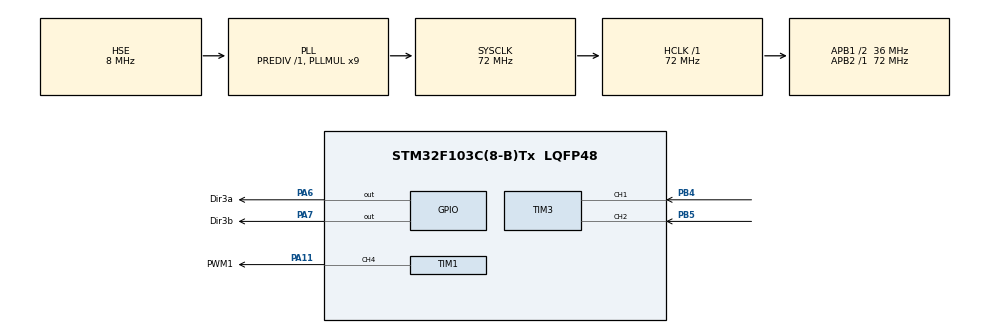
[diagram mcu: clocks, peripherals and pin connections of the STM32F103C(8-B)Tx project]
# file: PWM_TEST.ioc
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Mcu.Family=STM32F1
Mcu.Name=STM32F103C(8-B)Tx
Mcu.Package=LQFP48
NVIC.PriorityGroup=NVIC_PRIORITYGROUP_4
NVIC.TIM3_IRQn=true\:0\:0\:false\:false\:true\:true\:true\:true
PA11.GPIO_Label=PWM1
PA11.GPIO_Speed=GPIO_SPEED_FREQ_HIGH
PA11.Signal=S_TIM1_CH4
PA6.GPIO_Label=Dir3a
PA6.GPIO_Speed=GPIO_SPEED_FREQ_HIGH
PA6.Signal=GPIO_Output
PA7.GPIO_Label=Dir3b
PA7.Signal=GPIO_Output
PB4.Signal=S_TIM3_CH1
PB5.Signal=S_TIM3_CH2
PD0-OSC_IN.Mode=HSE-External-Oscillator
PD0-OSC_IN.Signal=RCC_OSC_IN
PD1-OSC_OUT.Mode=HSE-External-Oscillator
PD1-OSC_OUT.Signal=RCC_OSC_OUT
ProjectManager.HeapSize=0x200
ProjectManager.StackSize=0x400
ProjectManager.TargetToolchain=STM32CubeIDE
RCC.AHBFreq_Value=72000000
RCC.APB1CLKDivider=RCC_HCLK_DIV2
RCC.APB1Freq_Value=36000000
RCC.APB1TimFreq_Value=72000000
RCC.APB2Freq_Value=72000000
RCC.APB2TimFreq_Value=72000000
RCC.HCLKFreq_Value=72000000
RCC.PLLMUL=RCC_PLL_MUL9
RCC.PLLSourceVirtual=RCC_PLLSOURCE_HSE
RCC.SYSCLKFreq_VALUE=72000000
RCC.SYSCLKSource=RCC_SYSCLKSOURCE_PLLCLK
RCC.USBFreq_Value=72000000
SH.S_TIM1_CH4.0=TIM1_CH4,PWM Generation4 CH4
SH.S_TIM3_CH1.0=TIM3_CH1,Encoder_Interface
SH.S_TIM3_CH2.0=TIM3_CH2,Encoder_Interface
TIM1.Channel-PWM\ Generation4\ CH4=TIM_CHANNEL_4
TIM1.Period=255
TIM1.Prescaler=3
TIM3.IC1Polarity=TIM_ICPOLARITY_FALLING
TIM3.IC2Polarity=TIM_ICPOLARITY_FALLING
VP_SYS_VS_ND.Mode=No_Debug
board=custom

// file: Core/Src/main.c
/* USER CODE BEGIN Header */
/**
  ******************************************************************************
  * @file           : main.c
  * @brief          : Main program body
  ******************************************************************************
  * @attention
  *
  * Copyright (c) 2024 STMicroelectronics.
  * All rights reserved.
  *
  * This software is licensed under terms that can be found in the LICENSE file
  * in the root directory of this software component.
  * If no LICENSE file comes with this software, it is provided AS-IS.
  *
  ******************************************************************************
  */
/* USER CODE END Header */
#include "main.h"

/* USER CODE BEGIN Includes */
#include <stdio.h>
#include <math.h>

/* USER CODE END Includes */

/* USER CODE BEGIN PTD */
typedef struct {
    float Kp;           // Hệ số P
    float Ki;           // Hệ số I
    float Kd;           // Hệ số D
    float prev_error;   // Lỗi ở lần trước
    float integral;     // Tích phân lỗi
} PIDController;
/* USER CODE END PTD */

/* USER CODE BEGIN PD */
#define MAX_COUNT 65535 // Giá trị tối đa của bộ đếm (16-bit)
#define PULSES_PER_REV 2970 // Số xung mỗi vòng quay

/* USER CODE END PD */

TIM_HandleTypeDef htim1;
TIM_HandleTypeDef htim3;

/* USER CODE BEGIN PV */
uint16_t duty =100, count = 0;

volatile int16_t prev_count = 0; // Giá trị bộ đếm trước đó
volatile int16_t delta = 0;      // Số xung thay đổi
volatile int32_t total_count = 0; // Tổng số xung (có thể âm)
volatile float angle = 0.0;      // Góc quay hiện tại
/* USER CODE END PV */

void SystemClock_Config(void);
static void MX_GPIO_Init(void);
static void MX_TIM1_Init(void);
static void MX_TIM3_Init(void);

/* USER CODE BEGIN 0 */
void HAL_TIM_IC_CaptureCallback(TIM_HandleTypeDef *htim){
	uint16_t counter = __HAL_TIM_GET_COUNTER(htim);
	count = (int16_t)counter;

	delta = count - prev_count;

	// Xử lý trường hợp tràn
	if (delta > (MAX_COUNT / 2)) {
	    delta -= (MAX_COUNT + 1); // Tràn ngược
	} else if (delta < -(MAX_COUNT / 2)) {
	    delta += (MAX_COUNT + 1); // Tràn thuận
	}

	// Cập nhật tổng số xung
	total_count += delta;

	// Tính góc quay (đếm cả cạnh lên và xuống, chia 2 để ra số xung thực tế)
	angle = (float)total_count * 360.0f / PULSES_PER_REV / 2.0f;

	// Cập nhật giá trị bộ đếm trước đó
	prev_count = count;

	// Đảm bảo góc quay trong khoảng [-180, 180)
	if (angle < -180.0f) {
	    angle += 360.0f;
	} else if (angle >= 180.0f) {
	    angle -= 360.0f;
	}

}

// Hàm khởi tạo PID
void PID_Init(PIDController *pid, float Kp, float Ki, float Kd) {
    pid->Kp = Kp;
    pid->Ki = Ki;
    pid->Kd = Kd;
    pid->prev_error = 0.0f;
    pid->integral = 0.0f;
}

// Hàm tính toán PID
float PID_Compute(PIDController *pid, float setpoint, float current_angle, float delta_time) {
    // Tính toán lỗi
    float error = setpoint - current_angle;
    float Ki = 0;
    if (fabs(error) > 5.0){
    	Ki = pid->Ki/10.0;
    }else{
    	Ki = pid->Ki;
    }

    // Đảm bảo lỗi nằm trong khoảng [-180, 180] (xử lý vòng tròn 360 độ)
    if (error > 180.0f) {
        error -= 360.0f;
    } else if (error < -180.0f) {
        error += 360.0f;
    }

    // Tích phân lỗi (chỉ tích lũy khi delta_time > 0)
    if (delta_time > 0) {
        pid->integral += error * delta_time;
    }

    // Đạo hàm lỗi (chỉ tính khi delta_time > 0)
    float derivative = 0.0f;
    if (delta_time > 0) {
        derivative = (error - pid->prev_error) / delta_time;
    }

    // Tính tín hiệu điều khiển
    float output = pid->Kp * error + Ki * pid->integral + pid->Kd * derivative;

    // Lưu lỗi hiện tại cho lần tính sau
    pid->prev_error = error;

    if (output > 125.0f) {
		output = 125.0f;
	} else if (output < -125.0f) {
		output =-125.0f;
	}

    return output;
}

void Motor_SetSpeed(float output) {
    if (output > 0) {
        // Quay thuận
    	HAL_GPIO_WritePin(GPIOA, Dir3a_Pin, GPIO_PIN_RESET);
		HAL_GPIO_WritePin(GPIOA, Dir3b_Pin, GPIO_PIN_SET);
		 __HAL_TIM_SET_COMPARE(&htim1, TIM_CHANNEL_4,output);
    } else {
        // Quay ngược
    	HAL_GPIO_WritePin(GPIOA, Dir3a_Pin, GPIO_PIN_SET);
		HAL_GPIO_WritePin(GPIOA, Dir3b_Pin, GPIO_PIN_RESET);
		__HAL_TIM_SET_COMPARE(&htim1, TIM_CHANNEL_4,fabs(output));
    }
}
/* USER CODE END 0 */

int main(void)
{

  /* MCU Configuration--------------------------------------------------------*/

  /* Reset of all peripherals, Initializes the Flash interface and the Systick. */
  HAL_Init();

  /* Configure the system clock */
  SystemClock_Config();

  /* USER CODE BEGIN SysInit */
  PIDController pid;

  /* USER CODE END SysInit */

  /* Initialize all configured peripherals */
  MX_GPIO_Init();
  MX_TIM1_Init();
  MX_TIM3_Init();
  /* USER CODE BEGIN 2 */
  HAL_TIM_Encoder_Start_IT(&htim3, TIM_CHANNEL_ALL);
  HAL_TIM_PWM_Start(&htim1, TIM_CHANNEL_4);
  // Khởi tạo PID với các hệ số
  PID_Init(&pid, 125.0f, 18.0f, 20.0f);  // Tùy chỉnh các hệ số Kp, Ki, Kd

  // Biến góc đích và góc hiện tại
  float setpoint = -25.0f;  // Góc đích (90 độ)
  float current_angle = 0.0f;
  float delta_time = 0.01f; // Chu kỳ vòng lặp (10 ms)

  /* USER CODE END 2 */

  /* Infinite loop */
  while (1)
  {

    /* USER CODE BEGIN 3 */
	  // Cập nhật góc hiện tại từ encoder

	  // Tính tín hiệu điều khiển PID
	  float output = PID_Compute(&pid, setpoint, angle, delta_time);
	  Motor_SetSpeed(output);

	  // Chờ cho đủ thời gian delta_time
	  HAL_Delay((uint32_t)(delta_time * 1000));

  }
  /* USER CODE END 3 */
}

void SystemClock_Config(void)
{
  RCC_OscInitTypeDef RCC_OscInitStruct = {0};
  RCC_ClkInitTypeDef RCC_ClkInitStruct = {0};

  /** Initializes the RCC Oscillators according to the specified parameters
  * in the RCC_OscInitTypeDef structure.
  */
  RCC_OscInitStruct.OscillatorType = RCC_OSCILLATORTYPE_HSE;
  RCC_OscInitStruct.HSEState = RCC_HSE_ON;
  RCC_OscInitStruct.HSEPredivValue = RCC_HSE_PREDIV_DIV1;
  RCC_OscInitStruct.HSIState = RCC_HSI_ON;
  RCC_OscInitStruct.PLL.PLLState = RCC_PLL_ON;
  RCC_OscInitStruct.PLL.PLLSource = RCC_PLLSOURCE_HSE;
  RCC_OscInitStruct.PLL.PLLMUL = RCC_PLL_MUL9;
  if (HAL_RCC_OscConfig(&RCC_OscInitStruct) != HAL_OK)
  {
    Error_Handler();
  }

  /** Initializes the CPU, AHB and APB buses clocks
  */
  RCC_ClkInitStruct.ClockType = RCC_CLOCKTYPE_HCLK|RCC_CLOCKTYPE_SYSCLK
                              |RCC_CLOCKTYPE_PCLK1|RCC_CLOCKTYPE_PCLK2;
  RCC_ClkInitStruct.SYSCLKSource = RCC_SYSCLKSOURCE_PLLCLK;
  RCC_ClkInitStruct.AHBCLKDivider = RCC_SYSCLK_DIV1;
  RCC_ClkInitStruct.APB1CLKDivider = RCC_HCLK_DIV2;
  RCC_ClkInitStruct.APB2CLKDivider = RCC_HCLK_DIV1;

  if (HAL_RCC_ClockConfig(&RCC_ClkInitStruct, FLASH_LATENCY_2) != HAL_OK)
  {
    Error_Handler();
  }
}

static void MX_TIM1_Init(void)
{

  TIM_MasterConfigTypeDef sMasterConfig = {0};
  TIM_OC_InitTypeDef sConfigOC = {0};
  TIM_BreakDeadTimeConfigTypeDef sBreakDeadTimeConfig = {0};

  htim1.Instance = TIM1;
  htim1.Init.Prescaler = 3;
  htim1.Init.CounterMode = TIM_COUNTERMODE_UP;
  htim1.Init.Period = 255;
  htim1.Init.ClockDivision = TIM_CLOCKDIVISION_DIV1;
  htim1.Init.RepetitionCounter = 0;
  htim1.Init.AutoReloadPreload = TIM_AUTORELOAD_PRELOAD_DISABLE;
  if (HAL_TIM_PWM_Init(&htim1) != HAL_OK)
  {
    Error_Handler();
  }
  sMasterConfig.MasterOutputTrigger = TIM_TRGO_RESET;
  sMasterConfig.MasterSlaveMode = TIM_MASTERSLAVEMODE_DISABLE;
  if (HAL_TIMEx_MasterConfigSynchronization(&htim1, &sMasterConfig) != HAL_OK)
  {
    Error_Handler();
  }
  sConfigOC.OCMode = TIM_OCMODE_PWM1;
  sConfigOC.Pulse = 0;
  sConfigOC.OCPolarity = TIM_OCPOLARITY_HIGH;
  sConfigOC.OCFastMode = TIM_OCFAST_DISABLE;
  sConfigOC.OCIdleState = TIM_OCIDLESTATE_RESET;
  sConfigOC.OCNIdleState = TIM_OCNIDLESTATE_RESET;
  if (HAL_TIM_PWM_ConfigChannel(&htim1, &sConfigOC, TIM_CHANNEL_4) != HAL_OK)
  {
    Error_Handler();
  }
  sBreakDeadTimeConfig.OffStateRunMode = TIM_OSSR_DISABLE;
  sBreakDeadTimeConfig.OffStateIDLEMode = TIM_OSSI_DISABLE;
  sBreakDeadTimeConfig.LockLevel = TIM_LOCKLEVEL_OFF;
  sBreakDeadTimeConfig.DeadTime = 0;
  sBreakDeadTimeConfig.BreakState = TIM_BREAK_DISABLE;
  sBreakDeadTimeConfig.BreakPolarity = TIM_BREAKPOLARITY_HIGH;
  sBreakDeadTimeConfig.AutomaticOutput = TIM_AUTOMATICOUTPUT_DISABLE;
  if (HAL_TIMEx_ConfigBreakDeadTime(&htim1, &sBreakDeadTimeConfig) != HAL_OK)
  {
    Error_Handler();
  }
  HAL_TIM_MspPostInit(&htim1);

}

static void MX_TIM3_Init(void)
{

  TIM_Encoder_InitTypeDef sConfig = {0};
  TIM_MasterConfigTypeDef sMasterConfig = {0};

  htim3.Instance = TIM3;
  htim3.Init.Prescaler = 0;
  htim3.Init.CounterMode = TIM_COUNTERMODE_UP;
  htim3.Init.Period = 65535;
  htim3.Init.ClockDivision = TIM_CLOCKDIVISION_DIV1;
  htim3.Init.AutoReloadPreload = TIM_AUTORELOAD_PRELOAD_DISABLE;
  sConfig.EncoderMode = TIM_ENCODERMODE_TI1;
  sConfig.IC1Polarity = TIM_ICPOLARITY_FALLING;
  sConfig.IC1Selection = TIM_ICSELECTION_DIRECTTI;
  sConfig.IC1Prescaler = TIM_ICPSC_DIV1;
  sConfig.IC1Filter = 0;
  sConfig.IC2Polarity = TIM_ICPOLARITY_FALLING;
  sConfig.IC2Selection = TIM_ICSELECTION_DIRECTTI;
  sConfig.IC2Prescaler = TIM_ICPSC_DIV1;
  sConfig.IC2Filter = 0;
  if (HAL_TIM_Encoder_Init(&htim3, &sConfig) != HAL_OK)
  {
    Error_Handler();
  }
  sMasterConfig.MasterOutputTrigger = TIM_TRGO_RESET;
  sMasterConfig.MasterSlaveMode = TIM_MASTERSLAVEMODE_DISABLE;
  if (HAL_TIMEx_MasterConfigSynchronization(&htim3, &sMasterConfig) != HAL_OK)
  {
    Error_Handler();
  }

}

static void MX_GPIO_Init(void)
{
  GPIO_InitTypeDef GPIO_InitStruct = {0};

  /* GPIO Ports Clock Enable */
  __HAL_RCC_GPIOD_CLK_ENABLE();
  __HAL_RCC_GPIOA_CLK_ENABLE();
  __HAL_RCC_GPIOB_CLK_ENABLE();

  /*Configure GPIO pin Output Level */
  HAL_GPIO_WritePin(GPIOA, Dir3a_Pin|Dir3b_Pin, GPIO_PIN_RESET);

  /*Configure GPIO pin : Dir3a_Pin */
  GPIO_InitStruct.Pin = Dir3a_Pin;
  GPIO_InitStruct.Mode = GPIO_MODE_OUTPUT_PP;
  GPIO_InitStruct.Pull = GPIO_NOPULL;
  GPIO_InitStruct.Speed = GPIO_SPEED_FREQ_HIGH;
  HAL_GPIO_Init(Dir3a_GPIO_Port, &GPIO_InitStruct);

  /*Configure GPIO pin : Dir3b_Pin */
  GPIO_InitStruct.Pin = Dir3b_Pin;
  GPIO_InitStruct.Mode = GPIO_MODE_OUTPUT_PP;
  GPIO_InitStruct.Pull = GPIO_NOPULL;
  GPIO_InitStruct.Speed = GPIO_SPEED_FREQ_LOW;
  HAL_GPIO_Init(Dir3b_GPIO_Port, &GPIO_InitStruct);

}

void Error_Handler(void)
{
  __disable_irq();
  while (1)
  {
  }
}
